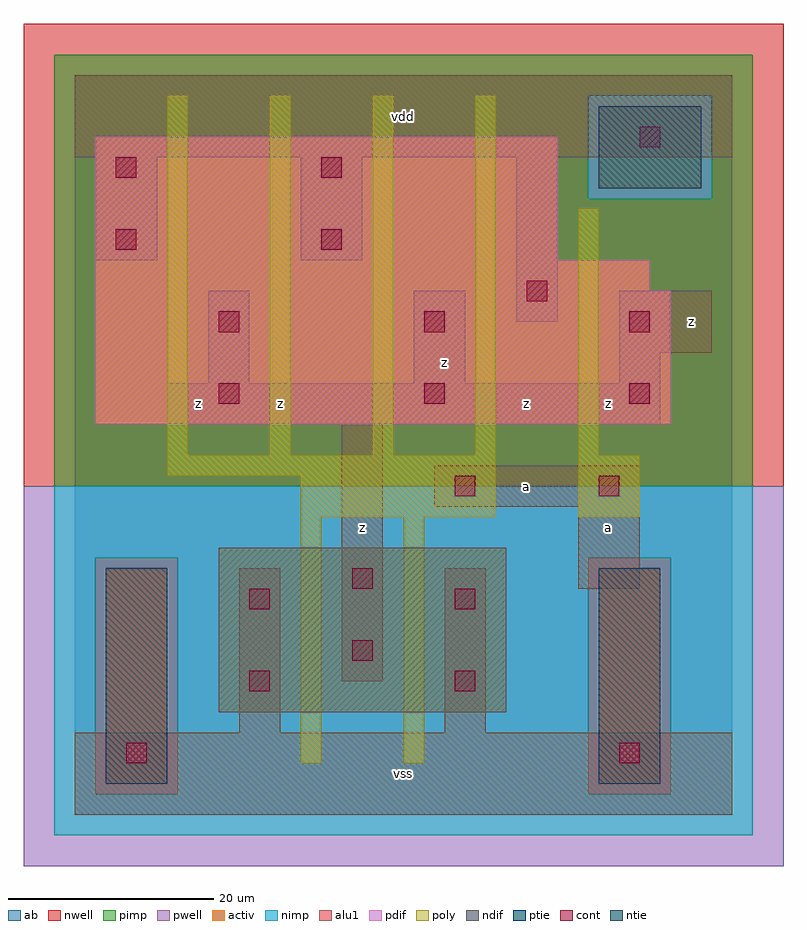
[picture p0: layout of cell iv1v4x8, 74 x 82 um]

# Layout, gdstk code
import gdstk
lib = gdstk.Library(unit=1e-6, precision=1e-09)
def R(c, l, rs):  # rectangles x0, y0, x1, y1
    for r in rs: c.add(gdstk.rectangle(r[:2], r[2:], *l))
def A(c, l, x, y, w, h, nx, ny, dx, dy):  # array of equal rectangles
    R(c, l, [(x+i*dx, y+j*dy, x+i*dx+w, y+j*dy+h) for i in range(nx) for j in range(ny)])
ndif = (3, 0)
pdif = (4, 0)
ntie = (5, 0)
ptie = (6, 0)
cont = (25, 0)
pwell = (41, 0)
nwell = (42, 0)
activ = (43, 0)
pimp = (44, 0)
nimp = (45, 0)
poly = (46, 0)
alu1 = (49, 0)
ab = (63, 0)

iv1v4x8 = lib.new_cell('iv1v4x8')
R(iv1v4x8, ndif, [(14,10,42,26)])
R(iv1v4x8, pdif, [(2,38,58,51), (2,51,56,54), (2,54,47,66)])
R(iv1v4x8, ntie, [(51,61,61,69)])
R(iv1v4x8, ptie, [(3,3,9,24), (51,3,57,24)])
A(iv1v4x8, cont, 14, 40, 2, 2, 3, 2, 20, 7)
R(iv1v4x8, cont, [(5,5,7,7), (53,5,55,7), (17,12,19,14), (37,12,39,14), (27,15,29,17), (17,20,19,22), (37,20,39,22), (27,22,29,24), (37,31,39,33), (51,31,53,33), (44,50,46,52), (4,55,6,57), (24,55,26,57), (4,62,6,64), (24,62,26,64), (55,65,57,67)])
R(iv1v4x8, pwell, [(-5,-5,69,32)])
R(iv1v4x8, nwell, [(-5,32,69,77)])
R(iv1v4x8, activ, [(3,3,9,24), (51,3,57,24), (14,10,42,26), (2,38,58,51), (2,51,56,54), (2,54,47,66), (51,61,61,69)])
R(iv1v4x8, pimp, [(2,2,10,25), (50,2,58,25), (-2,32,66,60), (-2,60,50,70), (62,60,66,70), (-2,70,66,74)])
R(iv1v4x8, nimp, [(-2,-2,66,2), (-2,2,2,25), (10,2,50,25), (58,2,66,25), (-2,25,66,32), (50,60,62,70)])
A(iv1v4x8, poly, 9, 35, 2, 35, 4, 1, 10, 0)
R(iv1v4x8, poly, [(22,5,24,29), (32,5,34,29), (22,29,41,33), (49,29,55,35), (9,33,41,35), (49,35,51,59)])
R(iv1v4x8, alu1, [(0,0,64,8), (16,8,20,24), (36,8,40,24), (26,13,30,38), (49,22,55,30), (35,30,55,34), (9,38,57,42), (13,42,17,51), (33,42,38,51), (53,42,57,45), (53,45,62,51), (43,48,47,64), (2,54,8,64), (22,54,28,64), (0,64,64,72)])
R(iv1v4x8, ab, [(0,0,64,72)])
iv1v4x8.add(gdstk.Label('z', (12,40), layer=49, texttype=0))
iv1v4x8.add(gdstk.Label('z', (28,28), layer=49, texttype=0))
iv1v4x8.add(gdstk.Label('z', (20,40), layer=49, texttype=0))
iv1v4x8.add(gdstk.Label('vss', (32,4), layer=49, texttype=0))
iv1v4x8.add(gdstk.Label('a', (44,32), layer=49, texttype=0))
iv1v4x8.add(gdstk.Label('z', (44,40), layer=49, texttype=0))
iv1v4x8.add(gdstk.Label('z', (36,44), layer=49, texttype=0))
iv1v4x8.add(gdstk.Label('vdd', (32,68), layer=49, texttype=0))
iv1v4x8.add(gdstk.Label('a', (52,28), layer=49, texttype=0))
iv1v4x8.add(gdstk.Label('z', (52,40), layer=49, texttype=0))
iv1v4x8.add(gdstk.Label('z', (60,48), layer=49, texttype=0))

lib.write_gds('iv1v4x8.gds')
